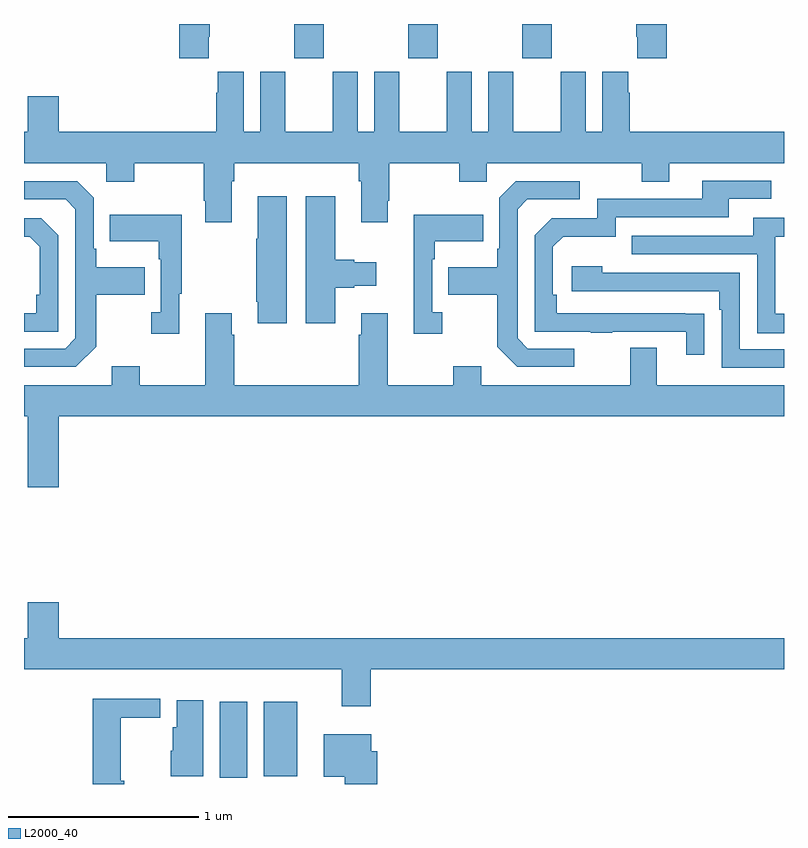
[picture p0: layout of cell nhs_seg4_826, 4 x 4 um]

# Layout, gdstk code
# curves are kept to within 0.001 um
import gdstk
lib = gdstk.Library(unit=1e-6, precision=1e-09)
def R(c, l, rs):  # rectangles x0, y0, x1, y1
    for r in rs: c.add(gdstk.rectangle(r[:2], r[2:], *l))
def A(c, l, x, y, w, h, nx, ny, dx, dy):  # array of equal rectangles
    R(c, l, [(x+i*dx, y+j*dy, x+i*dx+w, y+j*dy+h) for i in range(nx) for j in range(ny)])
def P(c, l, *ps):  # polygons
    for p in ps: c.add(gdstk.Polygon(p, *l))
L2000_40 = (2000, 40)

nhs_seg4_826 = lib.new_cell('nhs_seg4_826')
A(nhs_seg4_826, L2000_40, 154.423, 782.721, 0.155, 0.179, 3, 1, 0.6, 0)
R(nhs_seg4_826, L2000_40, [(154.031,778.932,154.174,779.332), (154.262,778.94,154.438,779.332)])
P(nhs_seg4_826, L2000_40, [(153.973,782.833),(153.978,782.833),(153.978,782.9),(153.818,782.9),(153.818,782.721),(153.973,782.721)],
  [(156.383,782.9),(156.223,782.9),(156.223,782.833),(156.227,782.833),(156.227,782.721),(156.383,782.721)],
  [(155.225,782.332),(154.975,782.332),(154.975,782.65),(154.844,782.65),(154.844,782.332),(154.756,782.332),(154.756,782.65),(154.625,782.65),(154.625,782.332),(154.375,782.332),(154.375,782.65),(154.244,782.65),(154.244,782.332),(154.156,782.332),(154.156,782.65),(154.019,782.65),(154.019,782.537),(154.013,782.537),(154.013,782.332),(153.184,782.332),(153.184,782.521),(153.02,782.521),(153.02,782.332),(153,782.332),(153,782.168),(153.432,782.168),(153.432,782.069),(153.579,782.069),(153.579,782.168),(153.946,782.168),(153.946,781.969),(153.953,781.969),(153.953,781.857),(154.093,781.857),(154.093,782.072),(154.106,782.072),(154.106,782.168),(154.763,782.168),(154.763,782.072),(154.775,782.072),(154.775,781.857),(154.915,781.857),(154.915,781.969),(154.923,781.969),(154.923,782.168),(155.29,782.168),(155.29,782.069),(155.436,782.069),(155.436,782.168),(156.25,782.168),(156.25,782.069),(156.397,782.069),(156.397,782.168),(157,782.168),(157,782.332),(156.188,782.332),(156.188,782.537),(156.181,782.537),(156.181,782.65),(156.044,782.65),(156.044,782.332),(155.956,782.332),(155.956,782.65),(155.825,782.65),(155.825,782.332),(155.575,782.332),(155.575,782.65),(155.444,782.65),(155.444,782.332),(155.356,782.332),(155.356,782.65),(155.225,782.65)],
  [(156.581,781.376),(155.804,781.377),(155.804,781.474),(155.784,781.474),(155.784,781.728),(155.837,781.781),(156.114,781.781),(156.114,781.884),(156.709,781.884),(156.709,781.98),(156.934,781.98),(156.934,782.076),(156.569,782.076),(156.569,781.98),(156.018,781.98),(156.018,781.878),(155.778,781.878),(155.688,781.788),(155.688,781.281),(155.983,781.281),(155.983,781.276),(156.095,781.276),(156.095,781.281),(156.485,781.281),(156.485,781.158),(156.581,781.158)],
  [(155.896,781.191),(155.652,781.191),(155.598,781.245),(155.598,781.926),(155.649,781.977),(155.926,781.977),(155.926,782.073),(155.589,782.073),(155.502,781.986),(155.502,781.717),(155.49,781.717),(155.49,781.621),(155.233,781.621),(155.233,781.474),(155.49,781.474),(155.49,781.201),(155.595,781.095),(155.896,781.095)],
  [(153.379,781.201),(153.379,781.474),(153.635,781.474),(153.635,781.621),(153.379,781.621),(153.379,781.717),(153.366,781.717),(153.366,781.986),(153.279,782.073),(153,782.073),(153,781.977),(153.219,781.977),(153.27,781.926),(153.27,781.245),(153.216,781.191),(153,781.191),(153,781.095),(153.273,781.095)],
  [(154.384,781.993),(154.229,781.993),(154.229,781.769),(154.222,781.769),(154.222,781.438),(154.229,781.438),(154.229,781.326),(154.384,781.326)],
  [(154.639,781.511),(154.739,781.511),(154.739,781.523),(154.855,781.523),(154.855,781.645),(154.739,781.645),(154.739,781.658),(154.639,781.658),(154.639,781.993),(154.484,781.993),(154.484,781.326),(154.639,781.326)],
  [(153.817,781.481),(153.829,781.481),(153.829,781.897),(153.451,781.897),(153.451,781.757),(153.708,781.757),(153.708,781.661),(153.72,781.661),(153.72,781.382),(153.669,781.382),(153.669,781.269),(153.817,781.269)],
  [(155.2,781.382),(155.148,781.382),(155.148,781.661),(155.161,781.661),(155.161,781.757),(155.417,781.757),(155.417,781.897),(155.051,781.897),(155.051,781.269),(155.2,781.269)],
  [(157,781.374),(156.954,781.374),(156.954,781.779),(157,781.779),(157,781.879),(156.839,781.879),(156.839,781.785),(156.199,781.785),(156.199,781.689),(156.858,781.689),(156.858,781.273),(157,781.273)],
  [(153.18,781.788),(153.09,781.878),(153,781.878),(153,781.781),(153.031,781.781),(153.084,781.728),(153.084,781.474),(153.064,781.474),(153.064,781.377),(153,781.377),(153,781.281),(153.18,781.281)],
  [(157,781.188),(156.768,781.188),(156.768,781.59),(156.044,781.59),(156.044,781.624),(155.883,781.624),(155.883,781.494),(156.659,781.494),(156.659,781.397),(156.672,781.397),(156.672,781.092),(157,781.092)],
  [(153.184,780.836),(157,780.836),(157,781),(156.331,781),(156.331,781.195),(156.191,781.195),(156.191,781),(155.407,781),(155.407,781.099),(155.26,781.099),(155.26,781),(154.915,781),(154.915,781.378),(154.775,781.378),(154.775,781.265),(154.763,781.265),(154.763,781),(154.106,781),(154.106,781.265),(154.093,781.265),(154.093,781.378),(153.953,781.378),(153.953,781),(153.609,781),(153.609,781.099),(153.461,781.099),(153.461,781),(153,781),(153,780.836),(153.02,780.836),(153.02,780.462),(153.184,780.462)],
  [(154.826,779.504),(157,779.504),(157,779.668),(153.184,779.668),(153.184,779.857),(153.02,779.857),(153.02,779.668),(153,779.668),(153,779.504),(154.673,779.504),(154.673,779.31),(154.826,779.31)],
  [(153.527,778.918),(153.508,778.918),(153.508,779.248),(153.718,779.248),(153.718,779.35),(153.362,779.35),(153.362,778.9),(153.527,778.9)],
  [(153.943,779.341),(153.803,779.341),(153.803,779.199),(153.782,779.199),(153.782,779.076),(153.773,779.076),(153.773,778.94),(153.943,778.94)],
  [(154.859,779.073),(154.828,779.073),(154.828,779.161),(154.577,779.161),(154.577,778.937),(154.688,778.937),(154.688,778.9),(154.859,778.9)])

lib.write_gds('nhs_seg4_826.gds')
